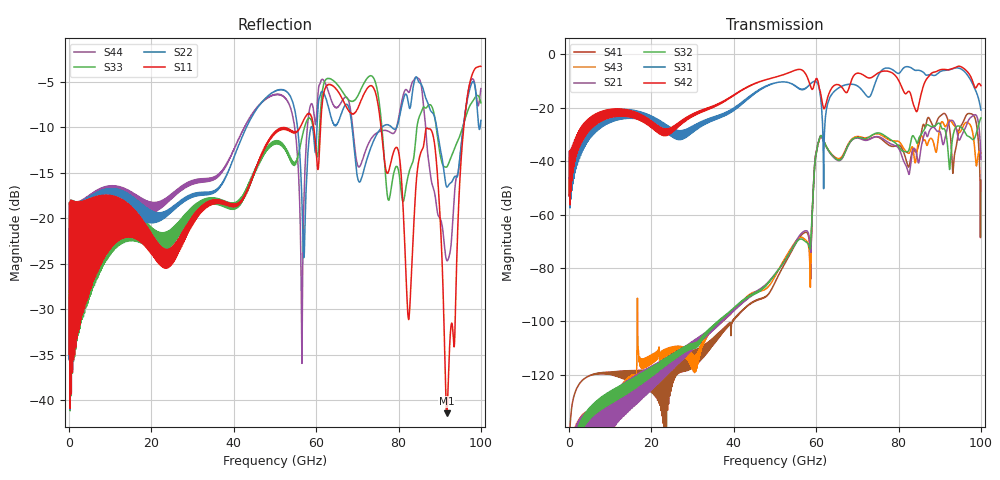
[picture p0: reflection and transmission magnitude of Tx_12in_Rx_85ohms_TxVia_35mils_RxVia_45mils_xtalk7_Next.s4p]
! Info: Touchstone file created by Circ.  Input file=Tx_12in_Rx_85ohms_TxVia_35mils_RxVia_45mils.circ
# Hz S RI R 50
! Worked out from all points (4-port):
!   10000 points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, 10 MHz to 100 GHz, reference 50 ohm
!   strongest paths, dB at 10 MHz, 25.01 GHz, 50.01 GHz, 75.01 GHz, 100 GHz:
!     S42: -53.0, -27.2, -8.5, -7.0, -11.7
!     S31: -53.0, -28.3, -10.7, -8.1, -20.8
!     S32: -180.2, -112.2, -82.3, -29.4, -23.8
!     S21: -175.5, -113.6, -82.4, -30.8, -39.3
!     S43: -175.0, -109.8, -83.0, -29.7, -37.0
!     S41: -162.1, -117.8, -85.2, -31.0, -47.1
!   lowest |S11| = -41.4 dB at 91.7 GHz (marker M1), VSWR 1.02, Z = 50.7 - j0.555 ohm
!   |S11| at or under -10 dB: start of sweep to 56.12 GHz; 59.41 GHz to 61.06 GHz (1.659 GHz wide, 2.75 % of centre); 75.75 GHz to 95.85 GHz (20.1 GHz wide, 23.4 % of centre)
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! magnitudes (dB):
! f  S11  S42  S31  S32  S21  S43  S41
! 10 MHz  -34.9  -53.0  -53.0  -180.2  -175.5  -175.0  -162.1
! 51.51 GHz  -10.2  -7.8  -10.3  -79.2  -79.2  -78.8  -80.8
! 58.39 GHz  -8.5  -10.8  -11.4  -72.7  -69.3  -75.8  -71.1
! 61.1 GHz  -9.7  -14.6  -16.3  -30.4  -30.4  -30.7  -30.7
! 87.99 GHz  -10.4  -7.1  -7.7  -27.0  -27.5  -31.5  -25.6
! 91.7 GHz  -41.4  -5.7  -5.9  -31.3  -28.5  -26.4  -23.3
! 100 GHz  -3.3  -11.7  -20.8  -23.8  -39.3  -37.0  -47.1
